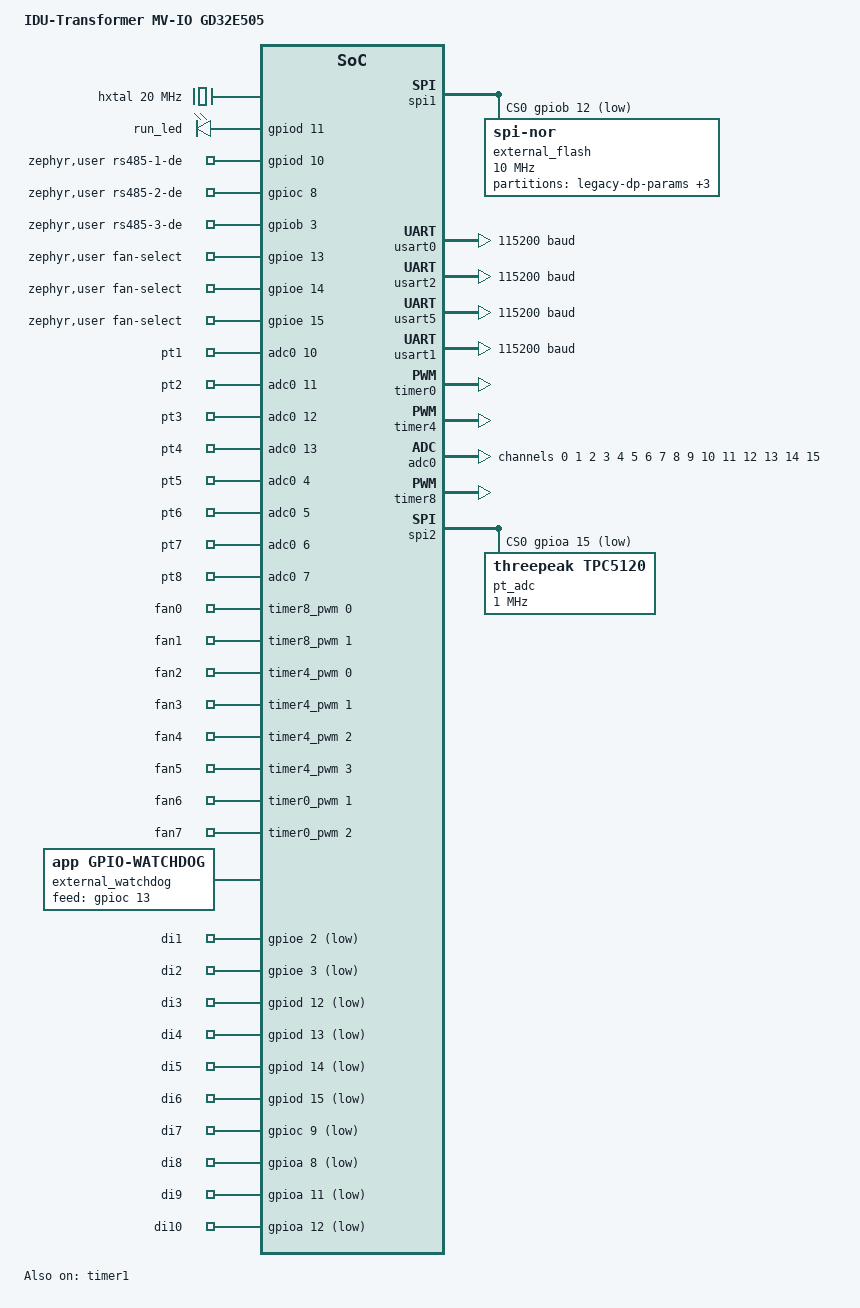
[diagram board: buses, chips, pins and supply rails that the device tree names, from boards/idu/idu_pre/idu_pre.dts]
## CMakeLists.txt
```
cmake_minimum_required(VERSION 3.20.0)

list(APPEND BOARD_ROOT ${CMAKE_CURRENT_SOURCE_DIR})
list(APPEND DTS_ROOT ${CMAKE_CURRENT_SOURCE_DIR})
include(${CMAKE_CURRENT_SOURCE_DIR}/modules/modules.cmake)
find_package(Zephyr REQUIRED HINTS $ENV{ZEPHYR_BASE})
project(idu_transformer)

add_subdirectory(app)
```

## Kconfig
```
mainmenu "IDU-Transformer"

source "Kconfig.zephyr"
rsource "app/Kconfig"

config IDU_TRANSFORMER
    bool
    default y
    select REBOOT
```

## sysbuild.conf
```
SB_CONFIG_BOOTLOADER_MCUBOOT=y
SB_CONFIG_MCUBOOT_MODE_SWAP_SCRATCH=y
SB_CONFIG_BOOT_SIGNATURE_TYPE_ECDSA_P256=y
```

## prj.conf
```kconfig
CONFIG_GPIO=y
# 风扇 PWM 与 PT100 原始采样。
CONFIG_PWM=y
CONFIG_FAN=y
CONFIG_ADC=y
CONFIG_WATCHDOG_EXTERNAL=y
CONFIG_SERIAL=y
CONFIG_CONSOLE=y
CONFIG_UART_CONSOLE=y
CONFIG_UART_INTERRUPT_DRIVEN=y
CONFIG_UART_USE_RUNTIME_CONFIGURE=y
# USART0 调试控制台：命令与日志共用 Shell 后端。
CONFIG_SHELL=y
CONFIG_SHELL_MINIMAL=y
CONFIG_SHELL_HELP=y
CONFIG_SHELL_CMDS=y
CONFIG_SHELL_VT100_COMMANDS=y
CONFIG_SHELL_BACKEND_SERIAL=y
CONFIG_SHELL_PROMPT_UART="AIDC:~$ "
CONFIG_SHELL_STACK_SIZE=2048
CONFIG_KERNEL_SHELL=y
CONFIG_DEVICE_SHELL=y
# 板级调试时用于查看寄存器。
CONFIG_DEVMEM_SHELL=y
CONFIG_SYS_HEAP_RUNTIME_STATS=y
CONFIG_THREAD_STACK_INFO=y
CONFIG_INIT_STACKS=y
# Zephyr RAW 服务端处理功能码，APP 仍管理物理 UART。
CONFIG_MODBUS=y
CONFIG_MODBUS_ROLE_SERVER=y
CONFIG_MODBUS_NUMOF_RAW_ADU=1
CONFIG_RS485=y
CONFIG_MODBUS_FP_EXTENSIONS=n
CONFIG_MODBUS_FC08_DIAGNOSTIC=n
# APP port.c 管理 UART，公共 Modbus 模块适配官方 RAW 服务端。
CONFIG_MODBUS_SERIAL=n
CONFIG_TRANSMIT=y
CONFIG_DATAPROCESS=y
CONFIG_HEAP_MEM_POOL_ADD_SIZE_DATAPROCESS=8192
CONFIG_SPI=y
CONFIG_FLASH=y
CONFIG_SPI_NOR=y
CONFIG_SPI_NOR_SFDP_RUNTIME=y
CONFIG_FLASH_MAP=y
CONFIG_FLASH_PAGE_LAYOUT=y
CONFIG_SPI_NOR_FLASH_LAYOUT_PAGE_SIZE=4096
CONFIG_LOG=y
CONFIG_LOG_MODE_DEFERRED=y
CONFIG_LOG_BLOCK_IN_THREAD=n
# USART0 Shell：启动默认只显示 WRN/ERR，运行时可 log enable/disable 调整。
CONFIG_LOG_RUNTIME_FILTERING=y
CONFIG_LOG_RUNTIME_DEFAULT_LEVEL=2
CONFIG_LOG_CMDS=y
CONFIG_MAIN_STACK_SIZE=4096
CONFIG_SYSTEM_WORKQUEUE_STACK_SIZE=2048
CONFIG_BUILD_OUTPUT_HEX=y
CONFIG_BUILD_OUTPUT_BIN=y

CONFIG_DP_SHELL=y
CONFIG_SHELL_ARGC_MAX=40

# 三路 RS485 使用标准 UART async，由驱动管理各自的 TX/RX DMA。
CONFIG_DMA=y
CONFIG_UART_ASYNC_API=y
CONFIG_UART_GD32_ASYNC=y
CONFIG_RS485_ASYNC=y

CONFIG_KERNEL_BIN_NAME="IDU-pre"
```

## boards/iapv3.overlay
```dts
/* IAP 暂存区和独立的 NVS 结果日志。 */
/ {
    chosen {
        iap,staging = &iap_staging;
        iap,journal = &iap_journal;
    };
};
&{/soc/spi@40003800/flash@0/partitions} {
    iap_journal: partition@18000 {
        label = "idu-iap-journal";
        reg = <0x18000 0x4000>;
    };
    iap_staging: partition@201000 {
        label = "idu-iap-sgz";
        reg = <0x201000 0xf0000>;
    };
};
```

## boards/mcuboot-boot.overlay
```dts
#include "mcuboot.overlay"
/ {
    chosen { zephyr,code-partition = &boot_partition; };
};
```

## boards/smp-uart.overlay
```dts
/ {
    chosen { zephyr,uart-mcumgr = &usart0; };
};
```

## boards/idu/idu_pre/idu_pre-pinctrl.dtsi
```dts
/* E505 与 E507 共用这些 E50x AFIO 引脚和重映射编码。 */
#include <dt-bindings/pinctrl/gd32e507v(e-c)xx-pinctrl.h>

&pinctrl {
    debug_uart_default: debug-uart-default {
        tx { pinmux = <USART0_TX_PA9_NORMP>; };
        rx { pinmux = <USART0_RX_PA10_NORMP>; };
    };
    rs485_uart_default: rs485-uart-default {
        tx { pinmux = <USART2_TX_PC10_PRMP>; };
        rx { pinmux = <USART2_RX_PC11_PRMP>; };
    };
    flash_spi_default: flash-spi-default {
        output { pinmux = <SPI1_SCK_PB13_OUT>, <SPI1_MOSI_PB15_OUT>; };
        input { pinmux = <SPI1_MISO_PB14_INP>; };
    };
    analog_default: analog-default {
        inputs {
            pinmux = <ADC01_IN13_PC3>, <ADC01_IN0_PA0>, <ADC01_IN1_PA1>,
                     <ADC01_IN2_PA2>, <ADC01_IN3_PA3>, <ADC01_IN4_PA4>,
                     <ADC01_IN11_PC1>, <ADC01_IN12_PC2>;
        };
    };
};
```

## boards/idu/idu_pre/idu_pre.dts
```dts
#include <zephyr/dt-bindings/dma/gd32_dma.h>
/dts-v1/;

#include <mem.h>
#include <arm/gd/gd32e505.dtsi>
#include <zephyr/dt-bindings/gpio/gpio.h>
#include <zephyr/dt-bindings/adc/adc.h>
#include <zephyr/dt-bindings/pwm/pwm.h>
#include <dt-bindings/pwm/gd32e505-pwm.h>
#include <dt-bindings/pinctrl/gd32e505v(e-c)xx-pinctrl.h>

/ {
    model = "IDU-Transformer MV-IO GD32E505";
    compatible = "idu,transformer";

    hxtal: hxtal-clock {
        compatible = "fixed-clock";
        #clock-cells = <0>;
        clock-frequency = <20000000>; /* 有源振荡器接入 OSC_IN，必须启用旁路。 */
    };

    pll: pll {
        compatible = "gd,gd32e505-pll";
        #clock-cells = <0>;
        clocks = <&hxtal>;
        hxtal-bypass;
        prediv = <5>;
        mul = <45>;
        apb1-prescaler = <2>;
        apb2-prescaler = <1>;
    };

    chosen {
        zephyr,sram = &sram0;
        zephyr,flash = &flash0;
        zephyr,flash-controller = &fmc;
        zephyr,console = &usart0;
        zephyr,shell-uart = &usart0;
        zephyr,code-partition = &slot0_partition;
        iap,staging = &iap_staging;
        iap,journal = &iap_journal;
    };

    aliases {
        dp-params = &dp_params;
        led0 = &run_led;
        rs485-1 = &usart2;
        rs485-2 = &usart5;
        rs485-3 = &usart1;
        di1 = &di1;
        di2 = &di2;
        di3 = &di3;
        di4 = &di4;
        di5 = &di5;
        di6 = &di6;
        di7 = &di7;
        di8 = &di8;
        di9 = &di9;
        di10 = &di10;
    };

    leds {
        compatible = "gpio-leds";
        run_led: run-led {};
    };

    zephyr,user {
        rs485-1-de-gpios = <&gpiod 10 GPIO_ACTIVE_HIGH>;
        rs485-2-de-gpios = <&gpioc 8 GPIO_ACTIVE_HIGH>;
        rs485-3-de-gpios = <&gpiob 3 GPIO_ACTIVE_HIGH>;
        /* 风扇反馈选择线 A/B/C，逻辑位顺序为低位到高位。 */
        fan-select-gpios = <&gpioe 13 GPIO_ACTIVE_HIGH>, <&gpioe 14 GPIO_ACTIVE_HIGH>,
                           <&gpioe 15 GPIO_ACTIVE_HIGH>;
        io-channels = <&adc0 10>, <&adc0 11>, <&adc0 12>, <&adc0 13>,
                      <&adc0 4>, <&adc0 5>, <&adc0 6>, <&adc0 7>,
                      <&adc0 14>, <&adc0 15>, <&adc0 8>, <&adc0 9>,
                      <&pt_adc 0>, <&pt_adc 1>, <&pt_adc 2>, <&pt_adc 3>,
                      <&pt_adc 4>, <&pt_adc 5>, <&pt_adc 6>, <&pt_adc 7>;
        io-channel-names = "pt1", "pt2", "pt3", "pt4", "pt5", "pt6", "pt7", "pt8",
                           "pt9", "pt10", "pt11", "pt12", "pt13", "pt14", "pt15", "pt16",
                           "pt17", "pt18", "pt19", "pt20";
        pwms = <&timer8_pwm 0 PWM_HZ(10000) PWM_POLARITY_NORMAL>,
               <&timer8_pwm 1 PWM_HZ(10000) PWM_POLARITY_NORMAL>,
               <&timer4_pwm 0 PWM_HZ(10000) PWM_POLARITY_NORMAL>,
               <&timer4_pwm 1 PWM_HZ(10000) PWM_POLARITY_NORMAL>,
               <&timer4_pwm 2 PWM_HZ(10000) PWM_POLARITY_NORMAL>,
               <&timer4_pwm 3 PWM_HZ(10000) PWM_POLARITY_NORMAL>,
               <&timer0_pwm 1 PWM_HZ(10000) PWM_POLARITY_NORMAL>,
               <&timer0_pwm 2 PWM_HZ(10000) GD32_PWM_COMPLEMENTARY>,
               <&fan_capture 3 0 PWM_POLARITY_NORMAL>;
        pwm-names = "fan0", "fan1", "fan2", "fan3", "fan4", "fan5", "fan6", "fan7", "fan-feedback";

    };

};

&spi1 {
    status = "okay";
    external_flash: flash@0 {
        compatible = "jedec,spi-nor";
        reg = <0>;
        spi-max-frequency = <10000000>;
        spi-cpol;
        spi-cpha;
        size = <DT_SIZE_M(8)>; /* GD25Q64：64 Mbit / 8 MiB。 */
        partitions {
            compatible = "fixed-partitions";
            #address-cells = <1>;
            #size-cells = <1>;
            legacy_params: partition@10000 {
                label = "legacy-dp-params";
                reg = <0x10000 0x4000>;
                read-only;
            };
            /* IAPv3 结果日志；偏移与既有设备保持一致，不参与参数清空。 */
            iap_journal: partition@18000 {
                label = "idu-iap-journal";
                reg = <0x18000 0x4000>;
            };
            /* SGZ 暂存上限与 CONFIG_IAP_MAX_CONTAINER_SIZE 成对维护。 */
            dp_params: partition@1c000 {
                label = "dp-params";
                reg = <0x1c000 0x10000>;
            };
            iap_staging: partition@201000 {
                label = "idu-iap-sgz";
                reg = <0x201000 0x80000>;
            };
        };
    };
};

&flash0 {
    /* 分区地址单元由 partitions 节点定义，Flash 本身无直接寻址子节点。 */
    /delete-property/ #address-cells;
    /delete-property/ #size-cells;
    reg = <0x08000000 DT_SIZE_K(512)>;
    write-block-size = <4>; /* E505 FMC 支持按字编程。 */
    erase-block-size = <8192>; /* 参见 GD32E50x 用户手册第 2.3.1 节。 */
};
&sram0 { reg = <0x20000000 DT_SIZE_K(128)>; };
&gpioa { status = "okay"; };
&gpiob { status = "okay"; };
&gpioc { status = "okay"; };
&gpiod { status = "okay"; };
&gpioe { status = "okay"; };
&usart0 {
    status = "okay";
    current-speed = <115200>;
};
&dma0 {
    status = "okay";
};

&usart2 {
    dmas = <&dma0 1 GD32_DMA_PRIORITY_HIGH>,
           <&dma0 2 GD32_DMA_PRIORITY_HIGH>;
    dma-names = "tx", "rx";
    status = "okay";
    current-speed = <115200>;
};

&dma1 {
    status = "okay";
};

&usart5 {
    dmas = <&dma1 4 GD32_DMA_PRIORITY_HIGH>,
           <&dma1 2 GD32_DMA_PRIORITY_HIGH>;
    dma-names = "tx", "rx";
    status = "okay";
    current-speed = <115200>;
};

&usart1 {
    dmas = <&dma0 6 GD32_DMA_PRIORITY_HIGH>,
           <&dma0 5 GD32_DMA_PRIORITY_HIGH>;
    dma-names = "tx", "rx";
    status = "okay";
    current-speed = <115200>;
};

/* 原 PWM/捕获引脚在本板改作 ADC 和 DO。 */
&timer0 { status = "disabled"; };
&timer1 { status = "disabled"; };
&timer2 { status = "disabled"; };
&timer4 { status = "disabled"; };

&adc0 {
    status = "okay";
    clock-prescaler = <8>;
    vdda-millivolts = <3300>;
    pinctrl-0 = <&adc_default>;
    pinctrl-names = "default";
    channel@0 {
        reg = <0>;
        zephyr,gain = "ADC_GAIN_1";
        zephyr,reference = "ADC_REF_VDD_1";
        zephyr,acquisition-time = <ADC_ACQ_TIME_DEFAULT>;
        zephyr,resolution = <12>;
    };
    channel@1 {
        reg = <1>;
        zephyr,gain = "ADC_GAIN_1";
        zephyr,reference = "ADC_REF_VDD_1";
        zephyr,acquisition-time = <ADC_ACQ_TIME_DEFAULT>;
        zephyr,resolution = <12>;
    };
    channel@2 {
        reg = <2>;
        zephyr,gain = "ADC_GAIN_1";
        zephyr,reference = "ADC_REF_VDD_1";
        zephyr,acquisition-time = <ADC_ACQ_TIME_DEFAULT>;
        zephyr,resolution = <12>;
    };
    channel@3 {
        reg = <3>;
        zephyr,gain = "ADC_GAIN_1";
        zephyr,reference = "ADC_REF_VDD_1";
        zephyr,acquisition-time = <ADC_ACQ_TIME_DEFAULT>;
        zephyr,resolution = <12>;
    };
    channel@4 {
        reg = <4>;
        zephyr,gain = "ADC_GAIN_1";
        zephyr,reference = "ADC_REF_VDD_1";
        zephyr,acquisition-time = <ADC_ACQ_TIME_DEFAULT>;
        zephyr,resolution = <12>;
    };
    channel@5 {
        reg = <5>;
        zephyr,gain = "ADC_GAIN_1";
        zephyr,reference = "ADC_REF_VDD_1";
        zephyr,acquisition-time = <ADC_ACQ_TIME_DEFAULT>;
        zephyr,resolution = <12>;
    };
    channel@6 {
        reg = <6>;
        zephyr,gain = "ADC_GAIN_1";
        zephyr,reference = "ADC_REF_VDD_1";
        zephyr,acquisition-time = <ADC_ACQ_TIME_DEFAULT>;
        zephyr,resolution = <12>;
    };
    channel@7 {
        reg = <7>;
        zephyr,gain = "ADC_GAIN_1";
        zephyr,reference = "ADC_REF_VDD_1";
        zephyr,acquisition-time = <ADC_ACQ_TIME_DEFAULT>;
        zephyr,resolution = <12>;
    };
    channel@8 {
        reg = <8>;
        zephyr,gain = "ADC_GAIN_1";
        zephyr,reference = "ADC_REF_VDD_1";
        zephyr,acquisition-time = <ADC_ACQ_TIME_DEFAULT>;
        zephyr,resolution = <12>;
    };
    channel@9 {
        reg = <9>;
        zephyr,gain = "ADC_GAIN_1";
        zephyr,reference = "ADC_REF_VDD_1";
        zephyr,acquisition-time = <ADC_ACQ_TIME_DEFAULT>;
        zephyr,resolution = <12>;
    };
    channel@a {
        reg = <10>;
        zephyr,gain = "ADC_GAIN_1";
        zephyr,reference = "ADC_REF_VDD_1";
        zephyr,acquisition-time = <ADC_ACQ_TIME_DEFAULT>;
        zephyr,resolution = <12>;
    };
    channel@b {
        reg = <11>;
        zephyr,gain = "ADC_GAIN_1";
        zephyr,reference = "ADC_REF_VDD_1";
        zephyr,acquisition-time = <ADC_ACQ_TIME_DEFAULT>;
        zephyr,resolution = <12>;
    };
    channel@c {
        reg = <12>;
        zephyr,gain = "ADC_GAIN_1";
        zephyr,reference = "ADC_REF_VDD_1";
        zephyr,acquisition-time = <ADC_ACQ_TIME_DEFAULT>;
        zephyr,resolution = <12>;
    };
    channel@d {
        reg = <13>;
        zephyr,gain = "ADC_GAIN_1";
        zephyr,reference = "ADC_REF_VDD_1";
        zephyr,acquisition-time = <ADC_ACQ_TIME_DEFAULT>;
        zephyr,resolution = <12>;
    };
    channel@e {
        reg = <14>;
        zephyr,gain = "ADC_GAIN_1";
        zephyr,reference = "ADC_REF_VDD_1";
        zephyr,acquisition-time = <ADC_ACQ_TIME_DEFAULT>;
        zephyr,resolution = <12>;
    };
    channel@f {
        reg = <15>;
        zephyr,gain = "ADC_GAIN_1";
        zephyr,reference = "ADC_REF_VDD_1";
        zephyr,acquisition-time = <ADC_ACQ_TIME_DEFAULT>;
        zephyr,resolution = <12>;
    };
};

/* 产品镜像布局，由应用和 MCUboot 共用。 */
#include "../../../bootloader/partitions.dtsi"

/ {
    external_watchdog: external-watchdog {
        compatible = "app,gpio-watchdog";
        feed-interval-ms = <10>;
        status = "okay";
    };
};

/*
 * IDU-Transformer 板级引脚分配：
 * - 外设引脚复用和重映射；
 * - 普通 GPIO 的板级接线、有效电平和上下拉；
 * - 与具体引脚方案配套的 pinctrl、cs-gpios、de-gpios 等属性。
 */

&pinctrl {
    adc_default: adc-default {
        analog {
            pinmux = <ADC01_IN4_PA4>, <ADC01_IN5_PA5>,
                     <ADC01_IN6_PA6>, <ADC01_IN7_PA7>, <ADC01_IN8_PB0>,
                     <ADC01_IN9_PB1>, <ADC01_IN10_PC0>, <ADC01_IN11_PC1>,
                     <ADC01_IN12_PC2>, <ADC01_IN13_PC3>, <ADC01_IN14_PC4>,
                     <ADC01_IN15_PC5>;
        };
    };
    debug_uart_default: debug-uart-default {
        tx { pinmux = <USART0_TX_PA9_NORMP>; };
        rx { pinmux = <USART0_RX_PA10_NORMP>; };
    };
    rs485_uart_default: rs485-uart-default {
        tx { pinmux = <USART2_TX_PD8_FRMP>; };
        rx { pinmux = <USART2_RX_PD9_FRMP>; };
    };
    rs485_2_uart_default: rs485-2-uart-default {
        tx { pinmux = <USART5_TX_PC6>; };
        rx { pinmux = <USART5_RX_PC7>; };
    };
    rs485_3_uart_default: rs485-3-uart-default {
        tx { pinmux = <USART1_TX_PD5_RMP>; };
        rx { pinmux = <USART1_RX_PD6_RMP>; };
    };
    flash_spi_default: flash-spi-default {
        output { pinmux = <SPI1_SCK_PB13_OUT>, <SPI1_MOSI_PB15_OUT>; };
        input { pinmux = <SPI1_MISO_PB14_INP>; };
    };
};

&usart0 {
    pinctrl-0 = <&debug_uart_default>;
    pinctrl-names = "default";
};

&usart2 {
    pinctrl-0 = <&rs485_uart_default>;
    pinctrl-names = "default";
};

&usart5 {
    pinctrl-0 = <&rs485_2_uart_default>;
    pinctrl-names = "default";
};

&usart1 {
    pinctrl-0 = <&rs485_3_uart_default>;
    pinctrl-names = "default";
};

&spi1 {
    pinctrl-0 = <&flash_spi_default>;
    pinctrl-names = "default";
    cs-gpios = <&gpiob 12 GPIO_ACTIVE_LOW>;
};

&run_led {
    gpios = <&gpiod 11 GPIO_ACTIVE_HIGH>;
};

/ {
    gpio-keys {
        compatible = "gpio-keys";
        di1: di1 { gpios = <&gpioe 2 (GPIO_ACTIVE_LOW | GPIO_PULL_UP)>; };
        di2: di2 { gpios = <&gpioe 3 (GPIO_ACTIVE_LOW | GPIO_PULL_UP)>; };
        di3: di3 { gpios = <&gpiod 12 (GPIO_ACTIVE_LOW | GPIO_PULL_UP)>; };
        di4: di4 { gpios = <&gpiod 13 (GPIO_ACTIVE_LOW | GPIO_PULL_UP)>; };
        di5: di5 { gpios = <&gpiod 14 (GPIO_ACTIVE_LOW | GPIO_PULL_UP)>; };
        di6: di6 { gpios = <&gpiod 15 (GPIO_ACTIVE_LOW | GPIO_PULL_UP)>; };
        di7: di7 { gpios = <&gpioc 9 (GPIO_ACTIVE_LOW | GPIO_PULL_UP)>; };
        di8: di8 { gpios = <&gpioa 8 (GPIO_ACTIVE_LOW | GPIO_PULL_UP)>; };
        di9: di9 { gpios = <&gpioa 11 (GPIO_ACTIVE_LOW | GPIO_PULL_UP)>; };
        di10: di10 { gpios = <&gpioa 12 (GPIO_ACTIVE_LOW | GPIO_PULL_UP)>; };
    };
};

&external_watchdog {
    feed-gpios = <&gpioc 13 GPIO_ACTIVE_HIGH>;
};


&timer8 {
    status = "okay";
    prescaler = <0>;
    timer8_pwm: pwm {
        status = "okay";
        pinctrl-0 = <&fan8_default>;
        pinctrl-names = "default";
    };
};
&pinctrl {
    fan8_default: fan8-default {
        outputs { pinmux = <TIMER8_CH0_PE5_OUT_RMP>, <TIMER8_CH1_PE6_OUT_RMP>; };
    };
};

&timer4 {
    status = "okay";
    prescaler = <0>;
    timer4_pwm: pwm {
        status = "okay";
        pinctrl-0 = <&fan4_default>;
        pinctrl-names = "default";
    };
};
&pinctrl {
    fan4_default: fan4-default {
        outputs { pinmux = <TIMER4_CH0_PA0_OUT>, <TIMER4_CH1_PA1_OUT>, <TIMER4_CH2_PA2_OUT>, <TIMER4_CH3_PA3_OUT>; };
    };
};

&timer0 {
    status = "okay";
    prescaler = <0>;
    timer0_pwm: pwm {
        status = "okay";
        pinctrl-0 = <&fan0_default>;
        pinctrl-names = "default";
    };
};
&pinctrl {
    fan0_default: fan0-default {
        outputs { pinmux = <TIMER0_CH1_PE11_OUT_FRMP>, <TIMER0_CH2_ON_PE12_FRMP>; };
    };
};

/* SPI2 接 TPC5120；Mode 0，保守使用 1 MHz，量程先选 0..VREF。 */
&spi2 {
    pinctrl-0 = <&pt_spi_default>;
    pinctrl-names = "default";
    cs-gpios = <&gpioa 15 GPIO_ACTIVE_LOW>;
    status = "okay";

    pt_adc: adc@0 {
        compatible = "threepeak,tpc5120";
        reg = <0>;
        spi-max-frequency = <1000000>;
        spi-cs-setup-delay-ns = <1000>;
        spi-cs-hold-delay-ns = <1000>;
        #io-channel-cells = <1>;
        #address-cells = <1>;
        #size-cells = <0>;
        channel@0 {
            reg = <0>;
            zephyr,gain = "ADC_GAIN_1";
            zephyr,reference = "ADC_REF_EXTERNAL0";
            zephyr,acquisition-time = <ADC_ACQ_TIME_DEFAULT>;
            zephyr,resolution = <12>;
        };
        channel@1 {
            reg = <1>;
            zephyr,gain = "ADC_GAIN_1";
            zephyr,reference = "ADC_REF_EXTERNAL0";
            zephyr,acquisition-time = <ADC_ACQ_TIME_DEFAULT>;
            zephyr,resolution = <12>;
        };
        channel@2 {
            reg = <2>;
            zephyr,gain = "ADC_GAIN_1";
            zephyr,reference = "ADC_REF_EXTERNAL0";
            zephyr,acquisition-time = <ADC_ACQ_TIME_DEFAULT>;
            zephyr,resolution = <12>;
        };
        channel@3 {
            reg = <3>;
            zephyr,gain = "ADC_GAIN_1";
            zephyr,reference = "ADC_REF_EXTERNAL0";
            zephyr,acquisition-time = <ADC_ACQ_TIME_DEFAULT>;
            zephyr,resolution = <12>;
        };
        channel@4 {
            reg = <4>;
            zephyr,gain = "ADC_GAIN_1";
            zephyr,reference = "ADC_REF_EXTERNAL0";
            zephyr,acquisition-time = <ADC_ACQ_TIME_DEFAULT>;
            zephyr,resolution = <12>;
        };
        channel@5 {
            reg = <5>;
            zephyr,gain = "ADC_GAIN_1";
            zephyr,reference = "ADC_REF_EXTERNAL0";
            zephyr,acquisition-time = <ADC_ACQ_TIME_DEFAULT>;
            zephyr,resolution = <12>;
        };
        channel@6 {
            reg = <6>;
            zephyr,gain = "ADC_GAIN_1";
            zephyr,reference = "ADC_REF_EXTERNAL0";
            zephyr,acquisition-time = <ADC_ACQ_TIME_DEFAULT>;
            zephyr,resolution = <12>;
        };
        channel@7 {
            reg = <7>;
            zephyr,gain = "ADC_GAIN_1";
            zephyr,reference = "ADC_REF_EXTERNAL0";
            zephyr,acquisition-time = <ADC_ACQ_TIME_DEFAULT>;
            zephyr,resolution = <12>;
        };
    };
};
&pinctrl {
    pt_spi_default: pt-spi-default {
        output { pinmux = <SPI2_SCK_PC10_OUT_RMP>, <SPI2_MOSI_PC12_OUT_RMP>; };
        input { pinmux = <SPI2_MISO_PC11_INP_RMP>; };
    };
};

/* TIMER1 独占 PB11 CH3 捕获；PWM 输出已移至 TIMER4。 */
&timer1 {
    status = "okay";
    prescaler = <179>;
    fan_capture: capture {
        compatible = "gd,gd32-pwm-capture";
        capture-channel = <3>;
        capture-prescaler = <1>;
        #pwm-cells = <3>;
        pinctrl-0 = <&fan_capture_default>;
        pinctrl-names = "default";
        status = "okay";
    };
};
&pinctrl {
    fan_capture_default: fan-capture-default {
        input {
            pinmux = <TIMER1_CH3_PB11_INP_PRMP2>;
            bias-pull-down;
        };
    };
};
```

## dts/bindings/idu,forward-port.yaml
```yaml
description: Application-owned forwarding UART direction control
compatible: "idu,forward-port"
include: base.yaml
properties:
  de-gpios:
    type: phandle-array
    required: true
    description: RS485 transmit direction output, inactive for receive
  uart:
    type: phandle
    description: Explicit UART when this node is not a child of its UART controller
```

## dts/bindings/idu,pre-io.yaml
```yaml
description: IDU-pre direct digital inputs, address switches
compatible: "idu,pre-io"
include: base.yaml
properties:
  io-channels:
    type: phandle-array
    required: true
    description: Analog input references identified by io-channel-names
  io-channel-names:
    type: string-array
    required: true
    description: Application names for analog inputs, independent of list order
  di1-gpios:
    type: phandle-array
    required: true
    description: Digital input 1
  di2-gpios:
    type: phandle-array
    required: true
    description: Digital input 2
  di3-gpios:
    type: phandle-array
    required: true
    description: Digital input 3
  di4-gpios:
    type: phandle-array
    required: true
    description: Digital input 4
  di5-gpios:
    type: phandle-array
    required: true
    description: Digital input 5
  di6-gpios:
    type: phandle-array
    required: true
    description: Digital input 6
  di7-gpios:
    type: phandle-array
    required: true
    description: Digital input 7
  di8-gpios:
    type: phandle-array
    required: true
    description: Digital input 8
  di9-gpios:
    type: phandle-array
    required: true
    description: Digital input 9
  di10-gpios:
    type: phandle-array
    required: true
    description: Digital input 10
  di11-gpios:
    type: phandle-array
    required: true
    description: Digital input 11
  di12-gpios:
    type: phandle-array
    required: true
    description: Digital input 12
  di13-gpios:
    type: phandle-array
    required: true
    description: Digital input 13
  di14-gpios:
    type: phandle-array
    required: true
    description: Digital input 14
  di15-gpios:
    type: phandle-array
    required: true
    description: Digital input 15
  di16-gpios:
    type: phandle-array
    required: true
    description: Digital input 16
  address1-gpios:
    type: phandle-array
    required: true
    description: Address switch input 1
  address2-gpios:
    type: phandle-array
    required: true
    description: Address switch input 2
  address3-gpios:
    type: phandle-array
    required: true
    description: Address switch input 3
  address4-gpios:
    type: phandle-array
    required: true
    description: Address switch input 4
  di-bit-order:
    type: string
    enum: ["lsb-first", "msb-first"]
    default: "lsb-first"
  address-bit-order:
    type: string
    enum: ["lsb-first", "msb-first"]
    default: "msb-first"
  address-offset:
    type: int
    default: 1
```

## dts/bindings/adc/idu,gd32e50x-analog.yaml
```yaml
description: GD32E50x application ADC acquisition with legacy MV-IO channel order
compatible: "idu,gd32e50x-analog"
include: [base.yaml, pinctrl-device.yaml]
properties:
  reg:
    required: true
  channel-order:
    type: array
    required: true
    description: Physical ADC channel IDs in application channel order
  vref-mv:
    type: int
    required: true
  pinctrl-0:
    required: true
  pinctrl-names:
    required: true
```

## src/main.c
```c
#include "idu_pre.h"
#include "idu_equip.h"
#include "idu_boot.h"
#ifdef CONFIG_IDU_IAPV3
#include "idu_iap.h"
#endif
#include <gd32_gpio.h>
#include <gd32_rcu.h>
#include <zephyr/device.h>
#include <zephyr/kernel.h>
#include <zephyr/logging/log.h>

LOG_MODULE_REGISTER(idu_pre, LOG_LEVEL_INF);

int main(void)
{
    /* PA15 is the RS485 DE signal: release JTAG while retaining SWD. */
    rcu_periph_clock_enable(RCU_AF);
    gpio_pin_remap_config(GPIO_SWJ_SWDPENABLE_REMAP, ENABLE);

    int err = idu_health_init();
    if (err) {
        LOG_ERR("External watchdog GPIO init failed: %d", err);
        return err;
    }
    err = idu_io_init();
    if (!err) {
        err = idu_analog_init();
    }
    if (!err) {
        err = idu_equipment_init();
    }
    if (err) {
        LOG_ERR("Acquisition init failed: %d", err);
        idu_health_stop();
        return err;
    }

    const struct device *flash = DEVICE_DT_GET(DT_NODELABEL(external_flash));
    LOG_INF("External flash: %s (legacy contents preserved)",
             device_is_ready(flash) ? "ready" : "not ready");
#ifdef CONFIG_IDU_IAPV3
    err = idu_iap_init();
    if (err) {
        LOG_ERR("IAP initialization failed: %d", err);
        idu_health_stop();
        return err;
    }
#endif

    struct idu_snapshot sample = {0};
#ifdef CONFIG_BOOTLOADER_MCUBOOT
    struct idu_boot_health boot_health = {0};
#endif
    while (true) {
        int64_t next_sample = k_uptime_get() + idu_sample_period_ms();
        err = idu_io_read(&sample.di, &sample.address);
        if (!err) {
            err = idu_analog_read(sample.raw);
        }
        sample.valid = err == 0;
        /* Engineering conversion now belongs to the process point table. */
        int publish_err = idu_snapshot_publish(&sample);
        if (!err) {
            err = publish_err;
        }
        if (!err && !dp_healthy(1500)) {
            err = -ETIMEDOUT;
        }
        if (err) {
            LOG_ERR("Acquisition failed: %d; watchdog feeding stopped", err);
            idu_health_stop();
            return err;
        }
        err = idu_protocol_set_address(sample.address);
        if (err) {
            LOG_ERR("Modbus init failed: %d", err);
            idu_health_stop();
            return err;
        }
        err = idu_led_toggle();
        if (err) {
            idu_health_stop();
            return err;
        }
        idu_health_kick();
#ifdef CONFIG_BOOTLOADER_MCUBOOT
        struct dp_param_status parameter_status;
        dp_params_get_status(&parameter_status);
        bool ready = device_is_ready(flash) &&
                     (parameter_status.flags & DP_PARAM_STORAGE_READY) &&
                     !(parameter_status.flags & DP_PARAM_PENDING);
        err = idu_boot_health_checkpoint(&boot_health, k_uptime_get(), ready);
        if (err) {
            idu_health_stop();
            return err;
        }
#endif
        LOG_DBG("Address=%u DI=0x%04x", sample.address, sample.di);
        int64_t delay = next_sample - k_uptime_get();
        if (delay > 0) {
            k_sleep(K_MSEC(delay));
        }
    }
}
```

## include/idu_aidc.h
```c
#ifndef IDU_AIDC_H
#define IDU_AIDC_H
#include <idu/process.h>
int idu_aidc_process(struct idu_process_ctx *ctx, struct idu_key key);
int idu_aidc_bus_init(const struct idu_equip_cfg *cfg);
int idu_aidc_serial(struct modbus_iface_param *param);
#endif
```

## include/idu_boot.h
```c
#ifndef IDU_BOOT_H
#define IDU_BOOT_H

#include <stdbool.h>
#include <stdint.h>

struct idu_boot_health {
    int64_t started, first, previous;
    bool initialized, confirmed;
};

/* Call only after each complete acquisition + forwarding + health cycle.
 * A failed or stalled cycle must never confirm a trial image. */
int idu_boot_health_checkpoint(struct idu_boot_health *state, int64_t now, bool healthy);

#endif
```

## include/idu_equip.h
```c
#ifndef IDU_EQUIP_H
#define IDU_EQUIP_H

#include "signal_ids.h"
#include "device_config.h"
#include <dataprocess/points.h>
#include <dataprocess/params.h>
#include <collect/collect.h>
#include <transmit/transmit.h>

struct modbus_user_callbacks *idu_parameter_callbacks(void);
int idu_parameter_write(uint16_t address, const uint16_t *words, size_t count);
uint16_t idu_sample_period_ms(void);

int idu_equipment_init(void);
int idu_acquisition_port_init(void); /* Returns Zephyr Modbus client iface. */

#if defined(CONFIG_IDU_COLLECT_VIRTUAL)
enum idu_virtual_write_fault {
    IDU_VIRTUAL_WRITE_OK,
    IDU_VIRTUAL_WRITE_REJECT,
    IDU_VIRTUAL_WRITE_LOSE_ACK,
    IDU_VIRTUAL_WRITE_DISCONNECT,
};
void idu_virtual_set_write_fault(enum idu_virtual_write_fault fault);
unsigned idu_virtual_write_count(void);
int idu_virtual_port_init(void);
void idu_virtual_set_online(bool online);
int idu_virtual_set_register(uint8_t function, uint16_t address, uint16_t value);
#endif

#endif
```

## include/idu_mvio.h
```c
#ifndef IDU_MVIO_H
#define IDU_MVIO_H
#include <dataprocess/points.h>
int idu_mvio_attach(int iface);
int idu_mvio_seed_address(const struct dp_point_cfg *cfg, struct dp_value *value);
int idu_mvio_prepare_address(const struct dp_point_cfg *cfg, struct dp_value *value,
                             const struct dp_value *old);
#endif
```

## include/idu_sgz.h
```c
#ifndef IDU_SGZ_H
#define IDU_SGZ_H
#include <stddef.h>
#include <stdint.h>

#define IDU_SGZ_MAX_SIZE 0xf0000u
#define IDU_IMAGE_MAX_SIZE 0x6e000u
/* Reader/writer callbacks must complete the entire operation or return errno. */
typedef int (*idu_image_read_fn)(void *ctx, uint32_t off, void *buf, size_t len);
typedef int (*idu_image_write_fn)(void *ctx, const void *buf, size_t len);
struct idu_sgz_workspace { uint8_t compressed[2304], plain[2048]; };
uint32_t idu_sgz_crc32(uint32_t crc, const void *buf, size_t len);
int idu_sgz_decrypt(uint8_t *data, size_t len, uint32_t file_offset);
int idu_sgz_unpack(idu_image_read_fn read, void *in, uint32_t received,
                   idu_image_write_fn write, void *out, struct idu_sgz_workspace *ws,
                   uint32_t *image_size);
/* Verifies this board's vectors, MCUboot SHA256, key hash and ECDSA-P256 TLVs.
 * Returns the signed image's SHA256 for the persistent upgrade journal. */
int idu_image_verify(idu_image_read_fn read, void *ctx, uint32_t available,
                      const uint8_t public_key[64], const uint8_t key_hash[32],
                      uint8_t image_hash[32]);
#endif
```

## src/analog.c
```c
/* Bounded, sequential E50x sampling. DMA migration can be added separately.
 * Upstream v4.4.2 has no E50x ADC DT node/complete ADC trigger setup.
 */
#include "idu_pre.h"
#include <errno.h>
#include <gd32_adc.h>
#include <gd32_rcu.h>
#include <zephyr/drivers/pinctrl.h>
#include <zephyr/kernel.h>
#include <zephyr/sys/util.h>

#define ADC_NODE DT_NODELABEL(idu_analog)
#define IDU_ADC_REG DT_REG_ADDR(ADC_NODE)
PINCTRL_DT_DEFINE(ADC_NODE);
static const uint8_t channel_order[] = DT_PROP(ADC_NODE, channel_order);
BUILD_ASSERT(ARRAY_SIZE(channel_order) == IDU_ANALOG_COUNT);
BUILD_ASSERT(DT_PROP(ADC_NODE, vref_mv) == 3300,
             "Legacy current conversion assumes a 3.3 V ADC reference");

static int wait_clear(uint32_t mask)
{
    int64_t deadline = k_uptime_get() + 10;
    while (ADC_CTL1(IDU_ADC_REG) & mask) {
        if (k_uptime_get() >= deadline) {
            return -ETIMEDOUT;
        }
    }
    return 0;
}

int idu_analog_init(void)
{
    int err = pinctrl_apply_state(PINCTRL_DT_DEV_CONFIG_GET(ADC_NODE),
                                  PINCTRL_STATE_DEFAULT);
    if (err) {
        return err;
    }
    rcu_periph_clock_enable(RCU_ADC0);
    rcu_adc_clock_config(RCU_CKADC_CKAPB2_DIV6);
    adc_deinit(IDU_ADC_REG);
    adc_mode_config(ADC_MODE_FREE);
    adc_special_function_config(IDU_ADC_REG, ADC_CONTINUOUS_MODE, DISABLE);
    adc_special_function_config(IDU_ADC_REG, ADC_SCAN_MODE, DISABLE);
    adc_data_alignment_config(IDU_ADC_REG, ADC_DATAALIGN_RIGHT);
    adc_resolution_config(IDU_ADC_REG, ADC_RESOLUTION_12B);
    adc_channel_length_config(IDU_ADC_REG, ADC_REGULAR_CHANNEL, 1);
    adc_external_trigger_source_config(IDU_ADC_REG, ADC_REGULAR_CHANNEL,
                                       ADC0_1_2_EXTTRIG_REGULAR_NONE);
    adc_external_trigger_config(IDU_ADC_REG, ADC_REGULAR_CHANNEL, ENABLE);
    adc_enable(IDU_ADC_REG);
    k_busy_wait(10);
    ADC_CTL1(IDU_ADC_REG) |= ADC_CTL1_RSTCLB;
    err = wait_clear(ADC_CTL1_RSTCLB);
    if (!err) {
        ADC_CTL1(IDU_ADC_REG) |= ADC_CTL1_CLB;
        err = wait_clear(ADC_CTL1_CLB);
    }
    return err;
}

int idu_analog_read(uint16_t raw[IDU_ANALOG_COUNT])
{
    for (size_t i = 0; i < ARRAY_SIZE(channel_order); ++i) {
        uint32_t sum = 0;
        adc_regular_channel_config(IDU_ADC_REG, 0, channel_order[i],
                                    ADC_SAMPLETIME_71POINT5);
        for (int sample = 0; sample < CONFIG_IDU_ADC_AVERAGE_COUNT; ++sample) {
            adc_flag_clear(IDU_ADC_REG, ADC_FLAG_EOC);
            adc_software_trigger_enable(IDU_ADC_REG, ADC_REGULAR_CHANNEL);
            int64_t deadline = k_uptime_get() + 2;
            while (!adc_flag_get(IDU_ADC_REG, ADC_FLAG_EOC)) {
                if (k_uptime_get() >= deadline) {
                    return -ETIMEDOUT;
                }
            }
            sum += adc_regular_data_read(IDU_ADC_REG);
        }
        raw[i] = sum / CONFIG_IDU_ADC_AVERAGE_COUNT;
    }
    return 0;
}
```

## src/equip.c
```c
#include "idu_equip.h"
#include "idu_pre.h"
#include <dataprocess/process.h>
#if defined(CONFIG_IDU_AIDC_PROFILE)
#include "idu_aidc.h"
#endif
#include <errno.h>
#include <zephyr/storage/flash_map.h>
#include <zephyr/logging/log.h>

LOG_MODULE_REGISTER(idu_equip, LOG_LEVEL_INF);

int idu_equipment_init(void)
{
    const struct dp_equip_cfg *cfg = idu_equipment_config();
    int err = dp_init(cfg);
    if (err) {
        return err;
    }
    int iface = idu_acquisition_port_init();
    if (iface < 0) {
        return iface;
    }
    err = co_init(cfg, iface, IS_ENABLED(CONFIG_IDU_COLLECT_VIRTUAL));
    if (err) { return err; }
#if defined(CONFIG_IDU_AIDC_PROFILE)
    err = idu_aidc_bus_init(cfg);
    if (err) { return err; }
    LOG_WRN("AIDC profile: DSP1..8 use a VIRTUAL UPP model backend");
#endif
#if defined(CONFIG_IDU_AIDC_PROFILE)
    const uint8_t storage_id = DT_FIXED_PARTITION_ID(DT_ALIAS(idu_aidc_settings));
#else
    const uint8_t storage_id = DT_FIXED_PARTITION_ID(DT_ALIAS(idu_settings));
#endif
    err = dp_params_init(cfg, storage_id);
    if (err) {
        LOG_ERR("Parameter storage unavailable (%d); writes disabled", err);
    } else {
        err = dp_params_recover();
        if (err) {
            LOG_WRN("Parameter transaction awaiting readback: %d", err);
        }
    }
    static const struct dp_process_plan process_plan = {.initialize_all = true};
    err = dp_process_start(&process_plan);
    return err ? err : co_start();
}

int idu_snapshot_publish(const struct idu_snapshot *snapshot)
{
    if (!snapshot) {
        return -EINVAL;
    }
    struct dp_point_batch batch = {.source = DP_SOURCE_LOCAL, .count = 10};
    batch.points[0] = (struct dp_point_update){
        .key = {IDU_DEV_LOCAL, IDU_SIG_ADDRESS}, .width = 1,
        .value.words = {snapshot->address}, .error = snapshot->valid ? 0 : -EIO,
    };
    batch.points[1] = (struct dp_point_update){
        .key = {IDU_DEV_LOCAL, IDU_SIG_DI}, .width = 1,
        .value.words = {snapshot->di}, .error = snapshot->valid ? 0 : -EIO,
    };
    for (unsigned i = 0; i < IDU_ANALOG_COUNT; ++i) {
        batch.points[i + 2] = (struct dp_point_update){
            .key = {IDU_DEV_LOCAL, IDU_SIG_CURRENT_1 + i}, .width = 1,
            .value.words = {snapshot->raw[i]}, .error = snapshot->valid ? 0 : -EIO,
        };
    }
    return dp_publish(&batch, K_MSEC(20));
}
```

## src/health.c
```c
#include "idu_pre.h"
#include <errno.h>
#include <zephyr/drivers/gpio.h>
#include <zephyr/kernel.h>
#include <zephyr/sys/atomic.h>

#define IO_NODE DT_NODELABEL(idu_io)
static const struct gpio_dt_spec watchdog = GPIO_DT_SPEC_GET(IO_NODE, watchdog_gpios);
static atomic_t last_progress;
static atomic_t healthy;

static void feed_watchdog(struct k_timer *timer)
{
    ARG_UNUSED(timer);
    uint32_t elapsed = k_uptime_get_32() - (uint32_t)atomic_get(&last_progress);
    if (atomic_get(&healthy) && elapsed < DT_PROP(IO_NODE, watchdog_health_ms)) {
        if (gpio_pin_toggle_dt(&watchdog)) {
            atomic_clear(&healthy);
        }
    }
}

K_TIMER_DEFINE(watchdog_timer, feed_watchdog, NULL);

int idu_health_init(void)
{
    if (!gpio_is_ready_dt(&watchdog)) {
        return -ENODEV;
    }
    int err = gpio_pin_configure_dt(&watchdog, GPIO_OUTPUT_ACTIVE);
    if (err) {
        return err;
    }
    atomic_set(&healthy, 1);
    idu_health_kick();
    k_timer_start(&watchdog_timer, K_MSEC(DT_PROP(IO_NODE, watchdog_feed_ms)),
                   K_MSEC(DT_PROP(IO_NODE, watchdog_feed_ms)));
    return 0;
}

void idu_health_kick(void)
{
    atomic_set(&last_progress, (atomic_val_t)k_uptime_get_32());
}

void idu_health_stop(void)
{
    atomic_clear(&healthy);
    k_timer_stop(&watchdog_timer);
}
```

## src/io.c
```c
#include "idu_pre.h"
#include <errno.h>
#include <zephyr/drivers/gpio.h>
#include <zephyr/sys/util.h>

#define IO_NODE DT_NODELABEL(idu_io)
#define DI_SPEC(node, prop, idx) GPIO_DT_SPEC_GET_BY_IDX(node, prop, idx),
static const struct gpio_dt_spec digital_inputs[] = {
    DT_FOREACH_PROP_ELEM(IO_NODE, di_gpios, DI_SPEC)
};
static const struct gpio_dt_spec address_switches[] = {
    DT_FOREACH_PROP_ELEM(IO_NODE, address_gpios, DI_SPEC)
};
static const struct gpio_dt_spec run_led = GPIO_DT_SPEC_GET(DT_ALIAS(led0), gpios);

BUILD_ASSERT(ARRAY_SIZE(digital_inputs) == IDU_DI_COUNT);
BUILD_ASSERT(ARRAY_SIZE(address_switches) == 4);

static int configure_inputs(const struct gpio_dt_spec *pins, size_t count)
{
    for (size_t i = 0; i < count; ++i) {
        if (!gpio_is_ready_dt(&pins[i])) {
            return -ENODEV;
        }
        int err = gpio_pin_configure_dt(&pins[i], GPIO_INPUT);
        if (err) {
            return err;
        }
    }
    return 0;
}

int idu_io_init(void)
{
    int err = configure_inputs(digital_inputs, ARRAY_SIZE(digital_inputs));
    if (!err) {
        err = configure_inputs(address_switches, ARRAY_SIZE(address_switches));
    }
    if (err) {
        return err;
    }
    if (!gpio_is_ready_dt(&run_led)) {
        return -ENODEV;
    }
    return gpio_pin_configure_dt(&run_led, GPIO_OUTPUT_ACTIVE);
}

int idu_io_read(uint16_t *di, uint8_t *address)
{
    uint16_t bits = 0;
    uint8_t switches = 0;
    for (size_t i = 0; i < ARRAY_SIZE(digital_inputs); ++i) {
        int state = gpio_pin_get_dt(&digital_inputs[i]);
        if (state < 0) {
            return state;
        }
        bits |= (uint16_t)(state << i);
    }
    for (size_t i = 0; i < ARRAY_SIZE(address_switches); ++i) {
        int state = gpio_pin_get_dt(&address_switches[i]);
        if (state < 0) {
            return state;
        }
        switches = (switches << 1) | state;
    }
    *di = bits;
    *address = switches + 1;
    return 0;
}

int idu_led_toggle(void)
{
    return gpio_pin_toggle_dt(&run_led);
}
```

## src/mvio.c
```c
/* MV-IO compatibility with io-interface-board's active DEVICE_CONFIG_MV_IO.
 * Wire addresses are literal (no 40001 adjustment). Normal IDU extensions keep
 * the standard Zephyr behavior; legacy broadcasts/247 never reach extensions.
 */
#include "idu_equip.h"
#include "idu_mvio.h"
#ifdef CONFIG_IDU_IAPV3
#include "idu_iap.h"
#endif
#include <idu/forward.h>
#include <idu/modbus_adapter.h>
#include <zephyr/storage/flash_map.h>
#include <zephyr/sys/byteorder.h>
#include <zephyr/sys/crc.h>
#include <zephyr/logging/log.h>
#include <string.h>

LOG_MODULE_REGISTER(idu_mvio, LOG_LEVEL_INF);

#if DT_NODE_EXISTS(DT_ALIAS(idu_legacy_primary)) && DT_NODE_EXISTS(DT_ALIAS(idu_legacy_backup))
static int read_legacy(uint8_t id, uint8_t *address)
{
    const struct flash_area *area;
    int err = flash_area_open(id, &area);
    if (err) { return err; }
    uint8_t metadata[4], chunk[32], first[8] = {0};
    if (area->fa_size != 4096) { err = -EINVAL; goto out; }
    err = flash_area_read(area, 4092, metadata, sizeof(metadata));
    if (err) { goto out; }
    uint16_t len = sys_get_le16(metadata), crc = 0xffff;
    if (len == 0xffff && sys_get_le16(metadata + 2) == 0xffff) {
        err = -ENOENT; goto out;
    }
    if (!len || len > 4092) { err = -EBADMSG; goto out; }
    for (size_t offset = 0; offset < len; offset += sizeof(chunk)) {
        size_t n = MIN(sizeof(chunk), len - offset);
        err = flash_area_read(area, offset, chunk, n);
        if (err) { goto out; }
        if (!offset) { memcpy(first, chunk, MIN(n, sizeof(first))); }
        crc = crc16_reflect(0xa001, crc, chunk, n);
    }
    if (crc != sys_get_le16(metadata + 2)) { err = -EBADMSG; goto out; }
    /* ARM AAPCS G_FLASH_T: u8 address, padding, LE16 type, LE32 protocol.
     * A CRC-valid unknown layout must not silently reset or overwrite NVS. */
    if (len != sizeof(first)) { err = -EPROTO; goto out; }
    *address = first[0] <= 246 ? first[0] : 1;
    LOG_INF("Import MV-IO address %u from legacy partition %u", *address, id);
out:
    flash_area_close(area);
    return err;
}
#endif

int idu_mvio_seed_address(const struct idu_point_cfg *cfg, struct idu_value *value)
{
    ARG_UNUSED(cfg);
#if DT_NODE_EXISTS(DT_ALIAS(idu_legacy_primary)) && DT_NODE_EXISTS(DT_ALIAS(idu_legacy_backup))
    uint8_t address;
    int err = read_legacy(DT_FIXED_PARTITION_ID(DT_ALIAS(idu_legacy_primary)), &address);
    if (err == -ENOENT || err == -EBADMSG) {
        err = read_legacy(DT_FIXED_PARTITION_ID(DT_ALIAS(idu_legacy_backup)), &address);
    }
    if (!err) { value->words[0] = address; }
    else if (err != -ENOENT && err != -EBADMSG) { return err; }
    else { LOG_INF("No valid legacy parameters; use MV-IO defaults"); }
#else
    ARG_UNUSED(value); /* Native core tests have no legacy flash partitions. */
#endif
    return 0;
}

int idu_mvio_prepare_address(const struct idu_point_cfg *cfg, struct idu_value *value,
                             const struct idu_value *old)
{
    ARG_UNUSED(cfg); ARG_UNUSED(old);
    /* Boot import historically permits 0; the 30459 write contract is 1..246. */
    return value->words[0] >= 1 && value->words[0] <= 246 ? 0 : -ERANGE;
}

static bool between(uint16_t value, uint16_t first, uint16_t last)
{
    return value >= first && value <= last;
}

static bool read_start(uint16_t address)
{
    return between(address, 8149, 8199) || between(address, 39278, 39286) ||
           between(address, 2503, 2532) || between(address, 4989, 5014) ||
           between(address, 2568, 2571) || address == 30459 || address == 2581 ||
           address == 5486 || address == 20003 || address == 31996 || address == 31997;
}

static bool write_start(uint16_t address)
{
    return between(address, 8149, 8199) || between(address, 39278, 39286) || address == 30459;
}

static bool extension(uint16_t address)
{
    return between(address, 10000, 10023) || between(address, 31000, 31008) ||
           between(address, 31500, 31502) || between(address, 31090, 31093) ||
           between(address, 32000, 32003) || address == 30460;
}

static bool accept(const struct modbus_adu *rx, uint8_t own, void *user)
{
    ARG_UNUSED(user);
    if (rx->length < 4 || (rx->fc != 3 && rx->fc != 4 && rx->fc != 6 && rx->fc != 16)) {
        return false;
    }
    if (rx->unit_id == 0 && rx->fc != 4 && rx->fc != 16) { return false; }
    if (rx->unit_id == own || rx->unit_id == 0) { return true; }
    return rx->unit_id == 247 && sys_get_be16(rx->data) == 30459;
}

struct legacy_span { uint16_t first, points; uint8_t width; };
/* These represent ordered callback tables, not contiguous address windows.
 * The old reader advances to the next table entry across address gaps. */
static const struct legacy_span input[] = {
    {2503,30,1}, {2568,4,1}, {2581,1,15}, {4805,10,1}, {4989,26,1},
    {5486,2,1}, {8149,1,1}, {8150,1,2}, {8152,48,1},
};
static const struct legacy_span holding[] = {
    {4885,1,1}, {8149,10,1}, {8178,10,1}, {20003,1,1}, {30459,1,1},
    {31996,2,1}, {39278,6,1}, {39284,1,2},
};

static int legacy_read(int iface, uint8_t fc, uint16_t address, uint16_t count,
                        struct modbus_adu *tx)
{
    const struct legacy_span *spans = fc == 4 ? input : holding;
    size_t nspans = fc == 4 ? ARRAY_SIZE(input) : ARRAY_SIZE(holding), span;
    uint16_t entry = 0;
    for (span = 0; span < nspans; ++span) {
        if (between(address, spans[span].first, spans[span].first + spans[span].points - 1)) {
            entry = address - spans[span].first; break;
        }
    }
    for (size_t offset = 0; offset < count;) {
        if (span == nspans) { return IDU_MODBUS_SILENT; }
        uint16_t reg = spans[span].first + entry, words[15] = {0};
        size_t width = spans[span].width;
        /* The legacy version string is an indivisible 15-register request. */
        if (width == 15 && (offset || count != 15)) { return IDU_MODBUS_SILENT; }
        if (fc == 4 || reg == 30459) {
            if (idu_forward_read(iface, fc, reg, words, width)) { return IDU_MODBUS_SILENT; }
        }
        /* Advertise only the initialized, explicitly enabled IAP transport. */
#ifdef CONFIG_IDU_IAPV3
        if (fc == 3 && idu_iap_ready()) {
            if (reg == 20003) { words[0] = 4; }
            else if (reg == 31996) { words[0] = 0x1200; }
        }
#endif
        size_t n = MIN(width, count - offset);
        for (size_t i = 0; i < n; ++i) { sys_put_be16(words[i], tx->data + 1 + 2 * (offset + i)); }
        offset += n;
        if (++entry == spans[span].points) { entry = 0; ++span; }
    }
    tx->data[0] = count * 2;
    tx->length = 1 + count * 2;
    return 0;
}

static int route(int iface, const struct modbus_adu *rx, struct modbus_adu *tx, void *user)
{
    ARG_UNUSED(user);
    if (rx->length < 4 || rx->length > sizeof(rx->data)) { return IDU_MODBUS_SILENT; }
    uint16_t address = sys_get_be16(rx->data), count = sys_get_be16(rx->data + 2);
#ifdef CONFIG_IDU_IAPV3
    int iap = idu_iap_route(iface, rx, tx);
    if (iap != -ENOENT) { return iap; }
#endif
    if (rx->unit_id != 0 && rx->unit_id != 247 && extension(address)) {
        return idu_forward_dispatch(iface, rx, tx, NULL);
    }
    if (rx->unit_id == 0 && rx->fc != 4 && rx->fc != 16) { return IDU_MODBUS_SILENT; }
    if (rx->fc == 3 || rx->fc == 4) {
        if (rx->length != 4 || !count || count > 125 || 1 + count * 2 > sizeof(tx->data) ||
            !read_start(address)) { return IDU_MODBUS_SILENT; }
        return legacy_read(iface, rx->fc, address, count, tx);
    }
    if (rx->fc == 6) {
        if (rx->length != 4) { return IDU_MODBUS_SILENT; }
        count = 1;
    } else if (rx->fc == 16) {
        if (!count || count > 123 || rx->length != 5 + 2 * count ||
            rx->data[4] != 2 * count) { return IDU_MODBUS_SILENT; }
    } else { return IDU_MODBUS_SILENT; }
    if (!write_start(address) || (uint32_t)address + count > 65536) { return IDU_MODBUS_SILENT; }
    /* MV-IO has one effective writable legacy point. Unknown entries within
     * these accepted windows are ACK-only, exactly as swSetRegData_4xReg. */
    if (address == 30459) {
        uint16_t value = sys_get_be16(rx->data + (rx->fc == 6 ? 2 : 5));
        if (value >= 1 && value <= 246 && idu_forward_write(iface, address, &value, 1)) {
            return IDU_MODBUS_SILENT; /* Never ACK a failed durable write. */
        }
    }
    tx->length = 4;
    memcpy(tx->data, rx->data, 4);
    return 0;
}

int idu_mvio_attach(int iface)
{
    const struct idu_modbus_policy policy = {.accept = accept, .legacy_broadcast = true};
    int err = idu_modbus_set_router(iface, route, NULL);
    return err ? err : idu_modbus_set_policy(iface, &policy);
}
```

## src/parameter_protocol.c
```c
#include "idu_equip.h"
#include <transmit/transmit.h>
#include <errno.h>

static int input_read(uint16_t address, uint16_t *value)
{
    return tr_read_register(4, address, value);
}

static int holding_read(uint16_t address, uint16_t *value)
{
    if (address >= 32000 && address <= 32003) {
        struct dp_param_status status;
        dp_params_get_status(&status);
        switch (address) {
        case 32000: *value = status.flags; break;
        case 32001: *value = (uint16_t)(int16_t)status.error; break;
        case 32002: *value = status.sequence & 0xffff; break;
        case 32003: *value = status.sequence >> 16; break;
        }
        return 0;
    }
    return tr_read_register(3, address, value);
}

struct modbus_user_callbacks *idu_parameter_callbacks(void)
{
    static struct modbus_user_callbacks callbacks = {
        .input_reg_rd = input_read, .holding_reg_rd = holding_read,
    };
    return &callbacks;
}

int idu_parameter_write(uint16_t address, const uint16_t *words, size_t count)
{
    if (address >= 31090 && address <= 31093) {
        if (!words || count != 1 || words[0] != (address <= 31091 ? 0xa55a : 1)) {
            return -EINVAL;
        }
        switch (address) {
        case 31090: return dp_params_restore(IDU_DEV_LOCAL);
        case 31091: return dp_params_restore(IDU_DEV_REMOTE_IO);
        case 31092: return dp_params_flush();
        case 31093: return dp_params_recover();
        }
    }
    int iface = tr_modbus_request_iface();
    return tr_write(iface < 0 ? 0 : iface, address, words, count);
}

uint16_t idu_sample_period_ms(void)
{
    struct dp_point_state state;
    int err = dp_params_read((struct dp_key){IDU_DEV_LOCAL, IDU_SIG_SAMPLE_PERIOD}, &state);
    return err ? CONFIG_IDU_SAMPLE_PERIOD_MS : state.value.words[0];
}
```
